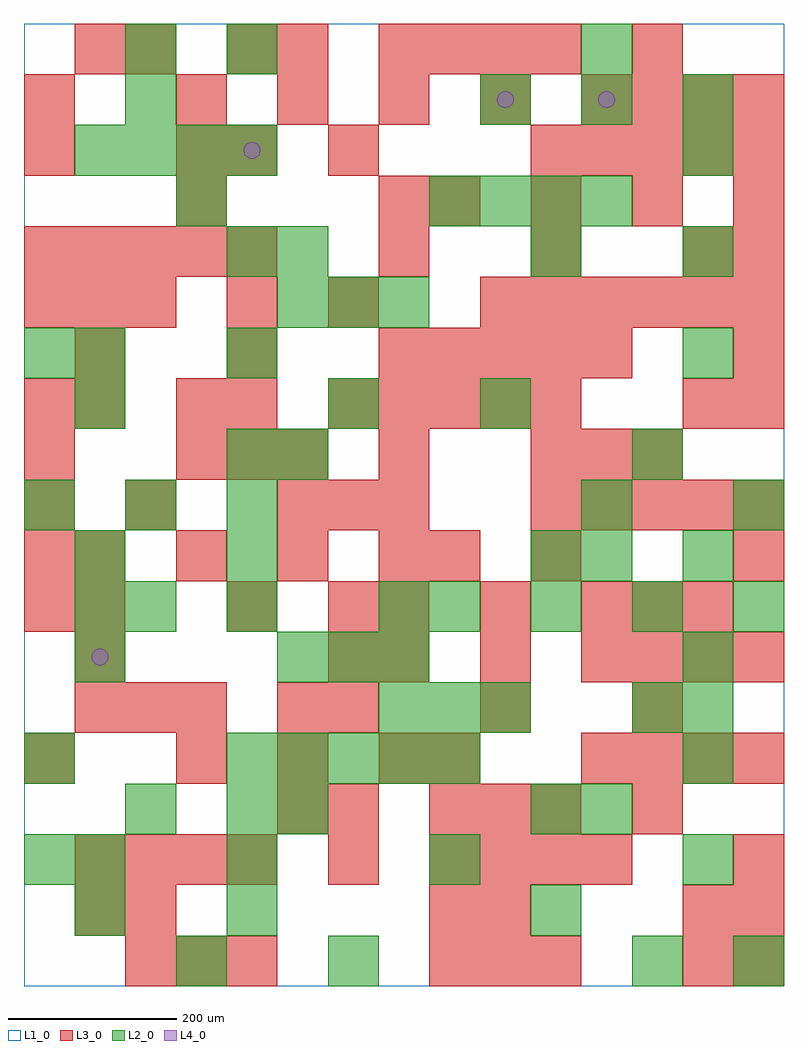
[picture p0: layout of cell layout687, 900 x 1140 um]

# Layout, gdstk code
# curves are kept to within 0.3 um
import gdstk
lib = gdstk.Library(unit=1e-6, precision=1e-09)
def R(c, l, rs):  # rectangles x0, y0, x1, y1
    for r in rs: c.add(gdstk.rectangle(r[:2], r[2:], *l))
def A(c, l, x, y, w, h, nx, ny, dx, dy):  # array of equal rectangles
    R(c, l, [(x+i*dx, y+j*dy, x+i*dx+w, y+j*dy+h) for i in range(nx) for j in range(ny)])
def P(c, l, *ps):  # polygons
    for p in ps: c.add(gdstk.Polygon(p, *l))
L1_0 = (1, 0)
L2_0 = (2, 0)
L3_0 = (3, 0)
L4_0 = (4, 0)

layout687 = lib.new_cell('layout687')
R(layout687, L1_0, [(0,0,900,1140)])
A(layout687, L2_0, 720, 0, 60, 60, 1, 3, 0, 300)
A(layout687, L2_0, 240, 60, 60, 60, 1, 3, 0, 60)
A(layout687, L2_0, 240, 240, 60, 60, 5, 1, 60, 0)
A(layout687, L2_0, 780, 240, 60, 60, 1, 3, 0, 60)
A(layout687, L2_0, 420, 300, 60, 60, 3, 1, 60, 0)
A(layout687, L2_0, 60, 360, 60, 60, 1, 3, 0, 60)
A(layout687, L2_0, 300, 360, 60, 60, 3, 2, 60, 420)
A(layout687, L2_0, 480, 420, 60, 60, 4, 1, 120, 0)
A(layout687, L2_0, 240, 480, 60, 60, 1, 4, 0, 120)
A(layout687, L2_0, 0, 540, 60, 60, 3, 1, 120, 0)
A(layout687, L2_0, 780, 720, 60, 60, 1, 3, 0, 120)
A(layout687, L2_0, 480, 900, 60, 60, 4, 1, 60, 0)
A(layout687, L2_0, 60, 960, 60, 60, 4, 1, 60, 0)
A(layout687, L2_0, 540, 1020, 60, 60, 3, 1, 120, 0)
R(layout687, L2_0, [(180,0,240,60), (360,0,420,60), (840,0,900,60), (60,60,120,120), (600,60,660,120), (0,120,60,180), (60,120,120,180), (480,120,540,180), (780,120,840,180), (120,180,180,240), (300,180,360,240), (600,180,660,240), (660,180,720,240), (0,240,60,300), (120,420,180,480), (240,420,300,480), (420,420,480,480), (600,480,660,540), (660,480,720,540), (780,480,840,540), (660,540,720,600), (840,540,900,600), (300,600,360,660), (60,660,120,720), (360,660,420,720), (540,660,600,720), (0,720,60,780), (60,720,120,780), (300,840,360,900), (600,840,660,900), (180,900,240,960), (120,1020,180,1080), (120,1080,180,1140), (240,1080,300,1140), (660,1080,720,1140)])
A(layout687, L3_0, 120, 0, 60, 60, 3, 1, 60, 0)
A(layout687, L3_0, 480, 0, 60, 60, 3, 2, 60, 180)
A(layout687, L3_0, 840, 0, 60, 60, 1, 3, 0, 60)
A(layout687, L3_0, 60, 120, 60, 60, 4, 1, 60, 0)
A(layout687, L3_0, 480, 120, 60, 60, 4, 2, 60, 600)
A(layout687, L3_0, 180, 240, 60, 60, 3, 1, 120, 0)
A(layout687, L3_0, 660, 240, 60, 60, 4, 1, 60, 0)
A(layout687, L3_0, 60, 300, 60, 60, 3, 1, 60, 0)
A(layout687, L3_0, 360, 300, 60, 60, 3, 1, 180, 0)
A(layout687, L3_0, 420, 360, 60, 60, 3, 2, 120, 60)
A(layout687, L3_0, 720, 360, 60, 60, 3, 2, 60, 660)
A(layout687, L3_0, 0, 420, 60, 60, 1, 5, 0, 60)
A(layout687, L3_0, 60, 480, 60, 60, 4, 1, 120, 0)
A(layout687, L3_0, 300, 540, 60, 60, 3, 1, 60, 0)
A(layout687, L3_0, 600, 540, 60, 60, 5, 2, 60, 420)
A(layout687, L3_0, 180, 600, 60, 60, 3, 1, 60, 0)
A(layout687, L3_0, 600, 600, 60, 60, 3, 1, 60, 0)
A(layout687, L3_0, 360, 660, 60, 60, 5, 1, 60, 0)
A(layout687, L3_0, 60, 720, 60, 60, 3, 1, 180, 0)
A(layout687, L3_0, 0, 780, 60, 60, 3, 1, 60, 0)
A(layout687, L3_0, 540, 780, 60, 60, 6, 1, 60, 0)
A(layout687, L3_0, 0, 840, 60, 60, 5, 1, 60, 0)
A(layout687, L3_0, 420, 840, 60, 60, 3, 1, 180, 0)
A(layout687, L3_0, 480, 900, 60, 60, 4, 1, 120, 0)
A(layout687, L3_0, 180, 1020, 60, 60, 5, 1, 120, 0)
A(layout687, L3_0, 420, 1080, 60, 60, 4, 1, 60, 0)
R(layout687, L3_0, [(780,0,840,60), (60,60,120,120), (120,60,180,120), (480,60,540,120), (540,60,600,120), (780,60,840,120), (360,120,420,180), (300,180,360,240), (360,180,420,240), (720,180,780,240), (0,240,60,300), (480,240,540,300), (300,300,360,360), (60,360,120,420), (360,360,420,420), (60,420,120,480), (240,420,300,480), (360,420,420,480), (720,420,780,480), (780,420,840,480), (480,480,540,540), (600,480,660,540), (840,480,900,540), (120,540,180,600), (420,600,480,660), (60,660,120,720), (180,660,240,720), (240,660,300,720), (780,660,840,720), (840,660,900,720), (840,720,900,780), (240,780,300,840), (360,780,420,840), (840,840,900,900), (180,900,240,960), (420,900,480,960), (0,960,60,1020), (180,960,240,1020), (240,960,300,1020), (360,960,420,1020), (0,1020,60,1080), (60,1080,120,1140), (120,1080,180,1140), (240,1080,300,1140), (300,1080,360,1140), (720,1080,780,1140)])
P(layout687, L4_0, [(100,390),(99.239,393.827),(97.071,397.071),(93.827,399.239),(90,400),(86.173,399.239),(82.929,397.071),(80.761,393.827),(80,390),(80.761,386.173),(82.929,382.929),(86.173,380.761),(90,380),(93.827,380.761),(97.071,382.929),(99.239,386.173)],
  [(280,990),(279.239,993.827),(277.071,997.071),(273.827,999.239),(270,1000),(266.173,999.239),(262.929,997.071),(260.761,993.827),(260,990),(260.761,986.173),(262.929,982.929),(266.173,980.761),(270,980),(273.827,980.761),(277.071,982.929),(279.239,986.173)],
  [(580,1050),(579.239,1053.827),(577.071,1057.071),(573.827,1059.239),(570,1060),(566.173,1059.239),(562.929,1057.071),(560.761,1053.827),(560,1050),(560.761,1046.173),(562.929,1042.929),(566.173,1040.761),(570,1040),(573.827,1040.761),(577.071,1042.929),(579.239,1046.173)],
  [(700,1050),(699.239,1053.827),(697.071,1057.071),(693.827,1059.239),(690,1060),(686.173,1059.239),(682.929,1057.071),(680.761,1053.827),(680,1050),(680.761,1046.173),(682.929,1042.929),(686.173,1040.761),(690,1040),(693.827,1040.761),(697.071,1042.929),(699.239,1046.173)])

lib.write_gds('layout687.gds')
